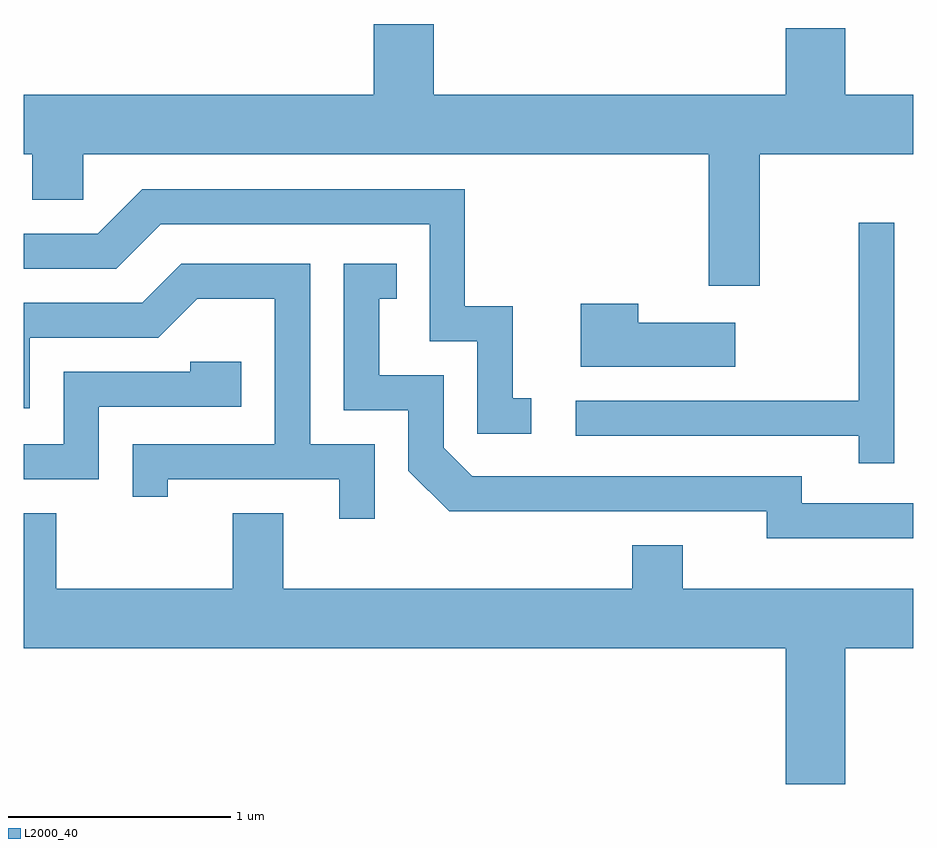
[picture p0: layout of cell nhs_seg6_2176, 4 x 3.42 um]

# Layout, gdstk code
import gdstk
lib = gdstk.Library(unit=1e-6, precision=1e-09)
def P(c, l, *ps):  # polygons
    for p in ps: c.add(gdstk.Polygon(p, *l))
L2000_40 = (2000, 40)

nhs_seg6_2176 = lib.new_cell('nhs_seg6_2176')
P(nhs_seg6_2176, L2000_40, [(254.919,1565.576),(255.611,1565.576),(255.611,1565.844),(255.304,1565.844),(255.304,1566.144),(255.036,1566.144),(255.036,1565.844),(253.454,1565.844),(253.454,1566.162),(253.186,1566.162),(253.186,1565.844),(251.611,1565.844),(251.611,1565.576),(251.651,1565.576),(251.651,1565.371),(251.879,1565.371),(251.879,1565.576),(254.691,1565.576),(254.691,1564.986),(254.919,1564.986)],
  [(253.893,1564.479),(253.809,1564.479),(253.809,1564.894),(253.594,1564.894),(253.594,1565.419),(252.144,1565.419),(251.944,1565.219),(251.611,1565.219),(251.611,1565.061),(252.027,1565.061),(252.227,1565.261),(253.436,1565.261),(253.436,1564.736),(253.651,1564.736),(253.651,1564.321),(253.893,1564.321)],
  [(255.524,1565.268),(255.366,1565.268),(255.366,1564.469),(254.093,1564.469),(254.093,1564.311),(255.366,1564.311),(255.366,1564.188),(255.524,1564.188)],
  [(253.189,1564.274),(252.899,1564.274),(252.899,1565.084),(252.319,1565.084),(252.144,1564.909),(251.611,1564.909),(251.611,1564.436),(251.639,1564.436),(251.639,1564.751),(252.217,1564.751),(252.392,1564.926),(252.741,1564.926),(252.741,1564.274),(252.101,1564.274),(252.101,1564.038),(252.259,1564.038),(252.259,1564.116),(253.031,1564.116),(253.031,1563.938),(253.189,1563.938)],
  [(255.611,1564.009),(255.109,1564.009),(255.109,1564.129),(253.627,1564.129),(253.499,1564.257),(253.499,1564.584),(253.209,1564.584),(253.209,1564.926),(253.288,1564.926),(253.288,1565.084),(253.051,1565.084),(253.051,1564.426),(253.341,1564.426),(253.341,1564.154),(253.524,1563.971),(254.951,1563.971),(254.951,1563.851),(255.611,1563.851)],
  [(254.809,1564.819),(254.374,1564.819),(254.374,1564.904),(254.116,1564.904),(254.116,1564.621),(254.809,1564.621)],
  [(251.949,1564.441),(252.589,1564.441),(252.589,1564.644),(252.361,1564.644),(252.361,1564.599),(251.791,1564.599),(251.791,1564.274),(251.611,1564.274),(251.611,1564.116),(251.949,1564.116)],
  [(255.304,1563.356),(255.611,1563.356),(255.611,1563.624),(254.574,1563.624),(254.574,1563.819),(254.346,1563.819),(254.346,1563.624),(252.779,1563.624),(252.779,1563.964),(252.551,1563.964),(252.551,1563.624),(251.759,1563.624),(251.759,1563.964),(251.611,1563.964),(251.611,1563.356),(255.036,1563.356),(255.036,1562.746),(255.304,1562.746)])

lib.write_gds('nhs_seg6_2176.gds')
